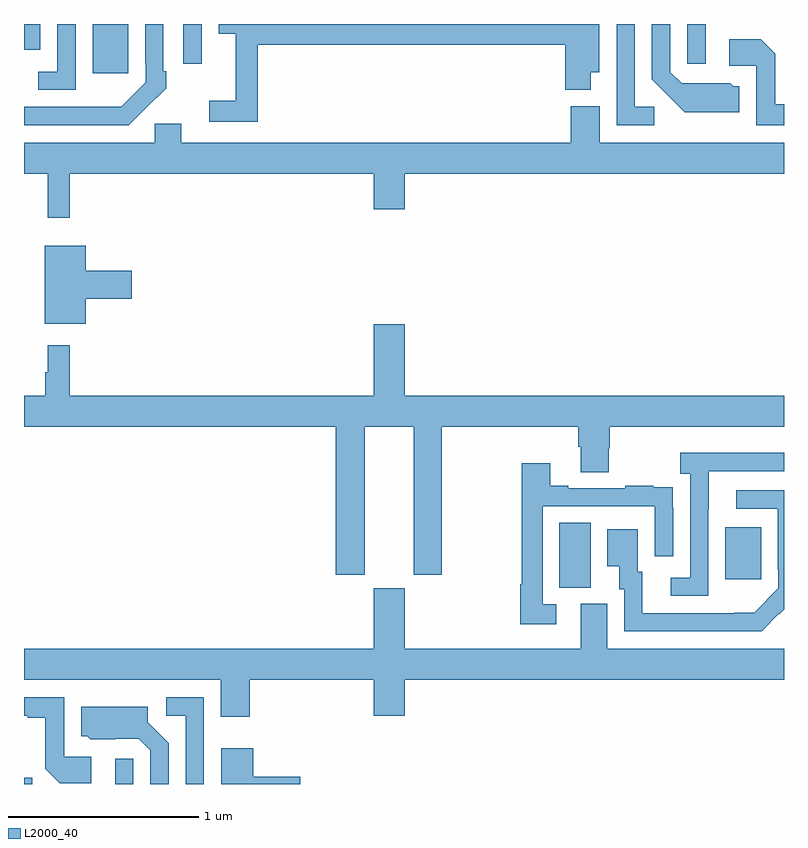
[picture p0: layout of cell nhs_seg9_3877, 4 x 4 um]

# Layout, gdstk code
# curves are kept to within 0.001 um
import gdstk
lib = gdstk.Library(unit=1e-6, precision=1e-09)
def R(c, l, rs):  # rectangles x0, y0, x1, y1
    for r in rs: c.add(gdstk.rectangle(r[:2], r[2:], *l))
def P(c, l, *ps):  # polygons
    for p in ps: c.add(gdstk.Polygon(p, *l))
L2000_40 = (2000, 40)

nhs_seg9_3877 = lib.new_cell('nhs_seg9_3877')
R(nhs_seg9_3877, L2000_40, [(331,1234.5,331.043,1234.532), (331.479,1234.5,331.575,1234.633), (333.818,1235.533,333.982,1235.876), (334.691,1235.577,334.879,1235.851), (331.361,1238.241,331.549,1238.5), (331.839,1238.292,331.935,1238.5), (334.491,1238.292,334.587,1238.5), (331,1238.364,331.086,1238.5)])
P(nhs_seg9_3877, L2000_40, [(334.765,1238.172),(334.734,1238.172),(334.718,1238.188),(334.461,1238.187),(334.401,1238.247),(334.401,1238.5),(334.305,1238.5),(334.305,1238.21),(334.477,1238.036),(334.765,1238.036)],
  [(331.272,1238.5),(331.176,1238.5),(331.176,1238.25),(331.074,1238.25),(331.074,1238.154),(331.272,1238.154)],
  [(331.643,1238.059),(331.644,1238.058),(331.749,1238.163),(331.749,1238.251),(331.734,1238.251),(331.734,1238.5),(331.638,1238.5),(331.638,1238.293),(331.641,1238.293),(331.641,1238.193),(331.513,1238.065),(331,1238.064),(331,1237.968),(331.552,1237.968)],
  [(334.318,1238.064),(334.215,1238.064),(334.215,1238.5),(334.119,1238.5),(334.119,1237.968),(334.318,1237.968)],
  [(332.231,1238.392),(333.848,1238.392),(333.848,1238.153),(333.982,1238.153),(333.982,1238.246),(334.027,1238.246),(334.027,1238.5),(332.024,1238.5),(332.024,1238.45),(332.114,1238.45),(332.114,1238.095),(331.974,1238.095),(331.974,1237.986),(332.231,1237.986)],
  [(335,1238.077),(334.953,1238.077),(334.953,1238.344),(334.877,1238.42),(334.713,1238.42),(334.713,1238.28),(334.854,1238.28),(334.854,1237.968),(335,1237.968)],
  [(331.241,1237.712),(332.84,1237.712),(332.84,1237.524),(333.004,1237.524),(333.004,1237.712),(335,1237.712),(335,1237.876),(334.03,1237.876),(334.03,1238.068),(333.878,1238.068),(333.878,1237.876),(331.828,1237.876),(331.828,1237.974),(331.689,1237.974),(331.689,1237.876),(331,1237.876),(331,1237.712),(331.124,1237.712),(331.124,1237.479),(331.241,1237.479)],
  [(331.324,1237.055),(331.567,1237.055),(331.567,1237.202),(331.324,1237.202),(331.324,1237.333),(331.109,1237.333),(331.109,1236.923),(331.324,1236.923)],
  [(332.794,1236.38),(333.05,1236.38),(333.05,1235.601),(333.198,1235.601),(333.198,1236.38),(333.917,1236.38),(333.917,1236.274),(333.929,1236.274),(333.929,1236.142),(334.077,1236.142),(334.077,1236.267),(334.082,1236.267),(334.082,1236.38),(335,1236.38),(335,1236.544),(333.004,1236.544),(333.004,1236.919),(332.84,1236.919),(332.84,1236.544),(331.241,1236.544),(331.241,1236.808),(331.124,1236.808),(331.124,1236.668),(331.113,1236.668),(331.113,1236.544),(331,1236.544),(331,1236.38),(332.642,1236.38),(332.642,1235.601),(332.794,1235.601)],
  [(334.602,1235.947),(334.603,1235.947),(334.603,1236.147),(335,1236.147),(335,1236.244),(334.455,1236.244),(334.455,1236.134),(334.506,1236.134),(334.506,1235.586),(334.404,1235.586),(334.404,1235.49),(334.602,1235.49)],
  [(333.802,1235.445),(333.729,1235.445),(333.729,1235.961),(334.32,1235.961),(334.32,1235.7),(334.416,1235.7),(334.416,1235.954),(334.415,1235.954),(334.415,1236.063),(334.313,1236.063),(334.313,1236.07),(334.165,1236.07),(334.165,1236.057),(333.865,1236.057),(333.865,1236.07),(333.769,1236.07),(333.769,1236.187),(333.621,1236.187),(333.621,1235.552),(333.613,1235.552),(333.613,1235.34),(333.802,1235.34)],
  [(334.973,1235.395),(334.974,1235.394),(335,1235.42),(335,1236.045),(334.749,1236.045),(334.749,1235.949),(334.968,1235.949),(334.968,1235.629),(334.971,1235.629),(334.971,1235.529),(334.843,1235.401),(334.255,1235.4),(334.255,1235.616),(334.231,1235.616),(334.231,1235.842),(334.07,1235.842),(334.07,1235.645),(334.133,1235.645),(334.133,1235.526),(334.158,1235.526),(334.158,1235.304),(334.882,1235.304)],
  [(332.189,1235.048),(332.84,1235.048),(332.84,1234.86),(333.004,1234.86),(333.004,1235.048),(335,1235.048),(335,1235.212),(334.069,1235.212),(334.069,1235.448),(333.929,1235.448),(333.929,1235.212),(333.004,1235.212),(333.004,1235.529),(332.84,1235.529),(332.84,1235.212),(331,1235.212),(331,1235.048),(332.036,1235.048),(332.036,1234.854),(332.189,1234.854)],
  [(331.354,1234.644),(331.212,1234.644),(331.212,1234.956),(331,1234.956),(331,1234.86),(331.019,1234.86),(331.019,1234.848),(331.113,1234.848),(331.113,1234.58),(331.189,1234.504),(331.354,1234.504)],
  [(331.947,1234.956),(331.749,1234.956),(331.749,1234.86),(331.851,1234.86),(331.851,1234.5),(331.947,1234.5)],
  [(331.761,1234.714),(331.651,1234.824),(331.651,1234.906),(331.301,1234.906),(331.301,1234.752),(331.332,1234.752),(331.348,1234.736),(331.605,1234.737),(331.665,1234.677),(331.665,1234.5),(331.761,1234.5)],
  [(332.455,1234.538),(332.206,1234.538),(332.206,1234.687),(332.039,1234.687),(332.039,1234.5),(332.455,1234.5)])

lib.write_gds('nhs_seg9_3877.gds')
